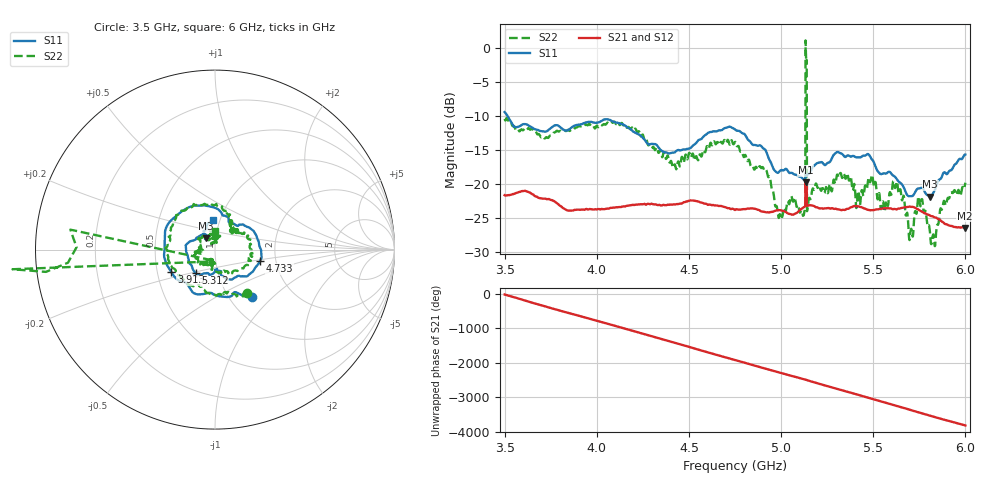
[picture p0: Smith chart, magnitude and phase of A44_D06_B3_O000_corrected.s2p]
! Created with skrf 1.9.0 (http://scikit-rf.org).
# Hz S RI R 50.0
!freq ReS11 ImS11 ReS21 ImS21 ReS12 ImS12 ReS22 ImS22
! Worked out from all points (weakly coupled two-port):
!   1601 points, 3.5 GHz to 6 GHz, reference 50 ohm
!   highest |S21| = -19.76 dB at 5.133 GHz (marker M1); lowest = -26.5 dB at 5.997 GHz (marker M2)
!   lowest |S11| = -21.9 dB at 5.809 GHz (marker M3), VSWR 1.17, Z = 44.9 + j5.7 ohm
!   |S11| at or under -10 dB: 3.515 GHz to end of sweep
!   |S22| runs from -29.2 to 1.1 dB; largest |S21 - S12| = 0.00099
!   S11 on the Smith chart (normalised r, x): 3.5 GHz: 1.27, -0.76; 3.913 GHz: 0.59, -0.16; 4.733 GHz: 1.65, -0.22; 5.312 GHz: 0.78, -0.21; 6 GHz: 0.92, +0.31
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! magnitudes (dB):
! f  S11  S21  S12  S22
! 3.5 GHz  -9.5  -21.7  -21.6  -10.5
! 3.913 GHz  -11.3  -23.8  -23.8  -11.6
! 3.917 GHz  -11.2  -23.8  -23.8  -11.5
! 4.334 GHz  -14.6  -23.1  -23.1  -15.4
! 4.733 GHz  -11.7  -23.7  -23.7  -13.6
! 4.75 GHz  -12.0  -23.9  -23.8  -13.9
! 4.927 GHz  -15.8  -24.2  -24.2  -18.8
! 4.995 GHz  -18.1  -23.9  -23.8  -24.2
! 5.119 GHz  -19.3  -23.5  -23.5  -24.7
! 5.127 GHz  -19.3  -23.4  -23.4  -24.1
! 5.133 GHz  -19.0  -19.8  -19.7  1.1
! 5.145 GHz  -18.6  -23.2  -23.2  -23.2
! 5.153 GHz  -18.5  -23.2  -23.1  -22.1
! 5.167 GHz  -17.8  -23.2  -23.2  -21.2
! 5.312 GHz  -15.4  -23.8  -23.7  -19.1
! 5.584 GHz  -18.2  -23.6  -23.6  -22.3
! 5.636 GHz  -19.6  -23.7  -23.6  -21.2
! 5.705 GHz  -21.8  -23.4  -23.3  -26.7
! 5.756 GHz  -20.6  -24.0  -23.9  -23.3
! 5.809 GHz  -21.9  -24.7  -24.7  -27.7
! 5.997 GHz  -15.7  -26.5  -26.4  -20.3
! 6 GHz  -15.7  -26.5  -26.4  -19.8
